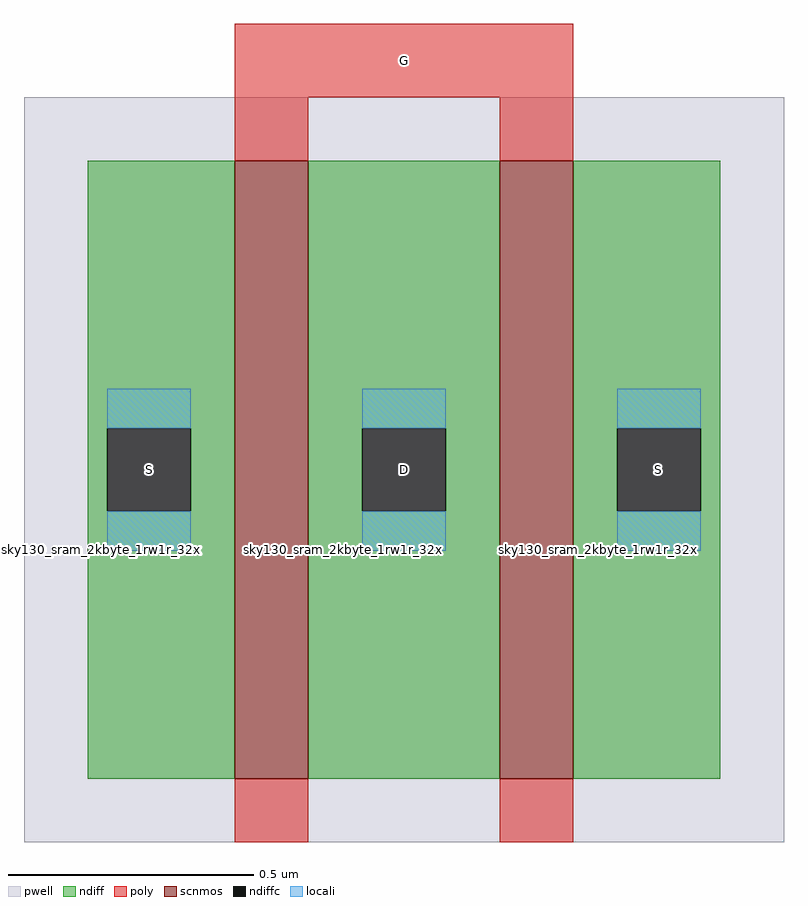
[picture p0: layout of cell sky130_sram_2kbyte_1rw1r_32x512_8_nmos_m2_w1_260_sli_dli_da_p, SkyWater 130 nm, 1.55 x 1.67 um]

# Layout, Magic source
magic
tech sky130A
magscale 1 2
<< pwell >>
rect -26 -26 284 278
<< scnmos >>
rect 60 0 90 252
rect 168 0 198 252
<< ndiff >>
rect 0 143 60 252
rect 0 109 8 143
rect 42 109 60 143
rect 0 0 60 109
rect 90 143 168 252
rect 90 109 112 143
rect 146 109 168 143
rect 90 0 168 109
rect 198 143 258 252
rect 198 109 216 143
rect 250 109 258 143
rect 198 0 258 109
<< ndiffc >>
rect 8 109 42 143
rect 112 109 146 143
rect 216 109 250 143
<< poly >>
rect 60 278 198 308
rect 60 252 90 278
rect 168 252 198 278
rect 60 -26 90 0
rect 168 -26 198 0
<< locali >>
rect 8 143 42 159
rect 8 93 42 109
rect 112 143 146 159
rect 112 93 146 109
rect 216 143 250 159
rect 216 93 250 109
use sky130_sram_2kbyte_1rw1r_32x512_8_contact_11  sky130_sram_2kbyte_1rw1r_32x512_8_contact_11_0
transform 1 0 208 0 1 93
box 0 0 1 1
use sky130_sram_2kbyte_1rw1r_32x512_8_contact_11  sky130_sram_2kbyte_1rw1r_32x512_8_contact_11_1
transform 1 0 104 0 1 93
box 0 0 1 1
use sky130_sram_2kbyte_1rw1r_32x512_8_contact_11  sky130_sram_2kbyte_1rw1r_32x512_8_contact_11_2
transform 1 0 0 0 1 93
box 0 0 1 1
<< labels >>
rlabel locali s 25 126 25 126 4 S
port 1 nsew
rlabel locali s 233 126 233 126 4 S
port 1 nsew
rlabel locali s 129 126 129 126 4 D
port 2 nsew
rlabel poly s 129 293 129 293 4 G
port 3 nsew
<< properties >>
string FIXED_BBOX -25 -26 283 308
string GDS_FILE $PDKPATH/libs.ref/sky130_sram_macros/gds/sky130_sram_2kbyte_1rw1r_32x512_8.gds
string GDS_END 163100
string GDS_START 162058
<< end >>
